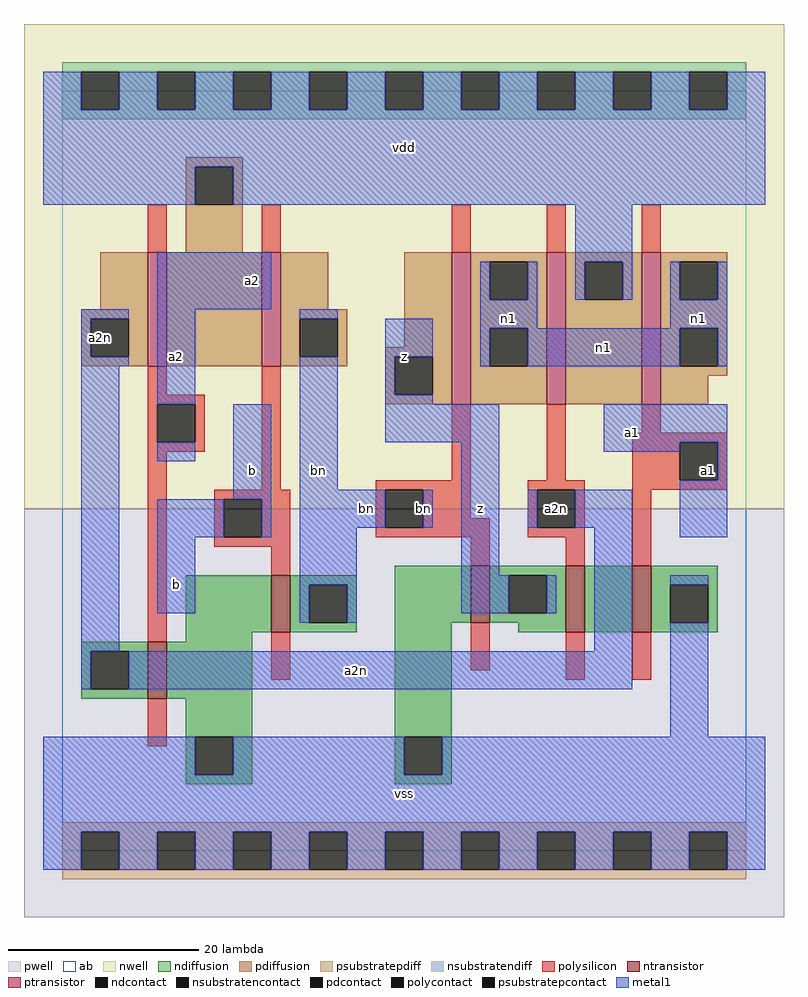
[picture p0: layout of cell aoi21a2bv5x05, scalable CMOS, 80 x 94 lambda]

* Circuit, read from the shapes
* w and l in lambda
.subckt aoi21a2bv5x05 a1 a2 a2n b bn n1 vdd vss z
M1 vss a2 a2n vss nfet w=6 l=2
M2 bn b vss vss nfet w=6 l=2
M3 z bn vss vss nfet w=6 l=2
M4 n2 a2n z vss nfet w=7 l=2
M5 vss a1 n2 vss nfet w=7 l=2
M6 vdd a2 a2n vdd pfet w=12 l=2
M7 bn b vdd vdd pfet w=12 l=2
M8 n1 bn z vdd pfet w=16 l=2
M9 vdd a2n n1 vdd pfet w=16 l=2
M10 n1 a1 vdd vdd pfet w=16 l=2
.ends

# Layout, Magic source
magic
tech scmos
<< ab >>
rect 0 0 72 80
<< pwell >>
rect -4 -7 76 36
<< nwell >>
rect -4 36 76 87
<< polysilicon >>
rect 9 63 11 68
rect 21 63 23 68
rect 41 63 43 68
rect 51 63 53 68
rect 61 63 63 68
rect 9 48 11 51
rect 9 47 15 48
rect 9 43 10 47
rect 14 43 15 47
rect 9 42 15 43
rect 9 22 11 42
rect 21 38 23 51
rect 41 39 43 47
rect 51 39 53 47
rect 61 44 63 47
rect 60 43 70 44
rect 60 39 65 43
rect 69 39 70 43
rect 33 38 43 39
rect 16 37 24 38
rect 16 33 17 37
rect 21 33 24 37
rect 33 34 34 38
rect 38 35 43 38
rect 49 38 55 39
rect 38 34 45 35
rect 33 33 45 34
rect 49 34 50 38
rect 54 34 55 38
rect 49 33 55 34
rect 16 32 24 33
rect 22 29 24 32
rect 43 30 45 33
rect 53 30 55 33
rect 60 38 70 39
rect 60 30 62 38
rect 22 18 24 23
rect 9 11 11 16
rect 43 19 45 24
rect 53 18 55 23
rect 60 18 62 23
<< ndiffusion >>
rect 13 23 22 29
rect 24 28 31 29
rect 24 24 26 28
rect 30 24 31 28
rect 24 23 31 24
rect 35 24 43 30
rect 45 29 53 30
rect 45 25 47 29
rect 51 25 53 29
rect 45 24 53 25
rect 13 22 20 23
rect 2 21 9 22
rect 2 17 3 21
rect 7 17 9 21
rect 2 16 9 17
rect 11 16 20 22
rect 13 12 20 16
rect 13 8 14 12
rect 18 8 20 12
rect 13 7 20 8
rect 35 12 41 24
rect 48 23 53 24
rect 55 23 60 30
rect 62 28 69 30
rect 62 24 64 28
rect 68 24 69 28
rect 62 23 69 24
rect 35 8 36 12
rect 40 8 41 12
rect 35 7 41 8
<< pdiffusion >>
rect 13 72 19 73
rect 13 68 14 72
rect 18 68 19 72
rect 13 63 19 68
rect 4 57 9 63
rect 2 56 9 57
rect 2 52 3 56
rect 7 52 9 56
rect 2 51 9 52
rect 11 51 21 63
rect 23 57 28 63
rect 23 56 30 57
rect 23 52 25 56
rect 29 52 30 56
rect 36 53 41 63
rect 23 51 30 52
rect 34 52 41 53
rect 34 48 35 52
rect 39 48 41 52
rect 34 47 41 48
rect 43 62 51 63
rect 43 58 45 62
rect 49 58 51 62
rect 43 55 51 58
rect 43 51 45 55
rect 49 51 51 55
rect 43 47 51 51
rect 53 62 61 63
rect 53 58 55 62
rect 59 58 61 62
rect 53 47 61 58
rect 63 62 70 63
rect 63 58 65 62
rect 69 58 70 62
rect 63 55 70 58
rect 63 51 65 55
rect 69 51 70 55
rect 63 50 70 51
rect 63 47 68 50
<< metal1 >>
rect -2 78 2 82
rect 6 78 10 82
rect 14 78 18 82
rect 22 78 26 82
rect 30 78 34 82
rect 38 78 42 82
rect 46 78 50 82
rect 54 78 58 82
rect 62 78 66 82
rect 70 78 74 82
rect -2 72 74 78
rect -2 68 14 72
rect 18 68 74 72
rect 10 57 22 63
rect 54 62 60 68
rect 44 58 45 62
rect 49 58 50 62
rect 54 58 55 62
rect 59 58 60 62
rect 64 58 65 62
rect 69 58 70 62
rect 2 56 7 57
rect 2 52 3 56
rect 2 51 7 52
rect 2 21 6 51
rect 10 47 14 57
rect 25 56 29 57
rect 10 41 14 43
rect 18 37 22 47
rect 10 33 17 37
rect 21 33 22 37
rect 25 38 29 52
rect 34 52 39 56
rect 34 48 35 52
rect 44 55 50 58
rect 64 55 70 58
rect 44 51 45 55
rect 49 51 65 55
rect 69 51 70 55
rect 34 47 39 48
rect 34 43 46 47
rect 25 34 34 38
rect 38 34 39 38
rect 10 25 14 33
rect 25 28 31 34
rect 25 24 26 28
rect 30 24 31 28
rect 42 29 46 43
rect 57 43 70 47
rect 57 42 65 43
rect 69 39 70 43
rect 49 34 50 38
rect 54 34 60 38
rect 42 25 47 29
rect 51 25 52 29
rect 56 21 60 34
rect 65 33 70 39
rect 2 17 3 21
rect 7 17 60 21
rect 64 28 68 29
rect 64 12 68 24
rect -2 8 14 12
rect 18 8 36 12
rect 40 8 74 12
rect -2 2 74 8
rect -2 -2 2 2
rect 6 -2 10 2
rect 14 -2 18 2
rect 22 -2 26 2
rect 30 -2 34 2
rect 38 -2 42 2
rect 46 -2 50 2
rect 54 -2 58 2
rect 62 -2 66 2
rect 70 -2 74 2
<< ntransistor >>
rect 22 23 24 29
rect 43 24 45 30
rect 9 16 11 22
rect 53 23 55 30
rect 60 23 62 30
<< ptransistor >>
rect 9 51 11 63
rect 21 51 23 63
rect 41 47 43 63
rect 51 47 53 63
rect 61 47 63 63
<< polycontact >>
rect 10 43 14 47
rect 65 39 69 43
rect 17 33 21 37
rect 34 34 38 38
rect 50 34 54 38
<< ndcontact >>
rect 26 24 30 28
rect 47 25 51 29
rect 3 17 7 21
rect 14 8 18 12
rect 64 24 68 28
rect 36 8 40 12
<< pdcontact >>
rect 14 68 18 72
rect 3 52 7 56
rect 25 52 29 56
rect 35 48 39 52
rect 45 58 49 62
rect 45 51 49 55
rect 55 58 59 62
rect 65 58 69 62
rect 65 51 69 55
<< psubstratepcontact >>
rect 2 -2 6 2
rect 10 -2 14 2
rect 18 -2 22 2
rect 26 -2 30 2
rect 34 -2 38 2
rect 42 -2 46 2
rect 50 -2 54 2
rect 58 -2 62 2
rect 66 -2 70 2
<< nsubstratencontact >>
rect 2 78 6 82
rect 10 78 14 82
rect 18 78 22 82
rect 26 78 30 82
rect 34 78 38 82
rect 42 78 46 82
rect 50 78 54 82
rect 58 78 62 82
rect 66 78 70 82
<< psubstratepdiff >>
rect 0 2 72 3
rect 0 -2 2 2
rect 6 -2 10 2
rect 14 -2 18 2
rect 22 -2 26 2
rect 30 -2 34 2
rect 38 -2 42 2
rect 46 -2 50 2
rect 54 -2 58 2
rect 62 -2 66 2
rect 70 -2 72 2
rect 0 -3 72 -2
<< nsubstratendiff >>
rect 0 82 72 83
rect 0 78 2 82
rect 6 78 10 82
rect 14 78 18 82
rect 22 78 26 82
rect 30 78 34 82
rect 38 78 42 82
rect 46 78 50 82
rect 54 78 58 82
rect 62 78 66 82
rect 70 78 72 82
rect 0 77 72 78
<< labels >>
rlabel polysilicon 38 36 38 36 6 bn
rlabel polycontact 52 36 52 36 6 a2n
rlabel pdcontact 4 54 4 54 6 a2n
rlabel metal1 12 28 12 28 6 b
rlabel metal1 20 40 20 40 6 b
rlabel metal1 12 52 12 52 6 a2
rlabel metal1 20 60 20 60 6 a2
rlabel metal1 36 6 36 6 6 vss
rlabel metal1 32 36 32 36 6 bn
rlabel metal1 36 52 36 52 6 z
rlabel metal1 27 40 27 40 6 bn
rlabel metal1 36 74 36 74 6 vdd
rlabel metal1 44 36 44 36 6 z
rlabel metal1 47 56 47 56 6 n1
rlabel metal1 31 19 31 19 6 a2n
rlabel metal1 60 44 60 44 6 a1
rlabel metal1 54 36 54 36 6 a2n
rlabel polycontact 68 40 68 40 6 a1
rlabel metal1 57 53 57 53 6 n1
rlabel metal1 67 56 67 56 6 n1
<< end >>
